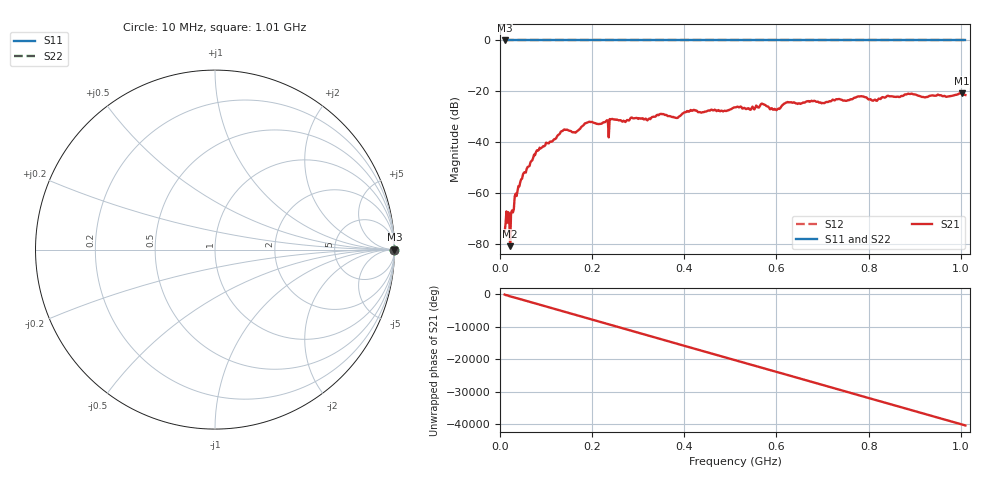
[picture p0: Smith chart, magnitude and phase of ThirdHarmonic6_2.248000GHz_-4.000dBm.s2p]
! 8/17/2025 2:40:49 AM
! C:\ANRITSUVNA\TEMP\TEMP.S2P
! CHANNEL.1
! TR.MEASUREMENT
! RAW.DATA
! RF.CORRECTION.OFF
! AVERAGING.OFF
! IF.BANDWIDTH: 5KHZ
! SWEEPTYPE:  FREQ.SWEEP(Linear)
! Reference Plane Port Info
! PORT:  PORT1  PORT2
! DISTANCE:  0  m  0  m
! TIME:  0  s  0  s
! PHASE.OFFSET:  0  deg.  0  deg.
! LOSS:  0  dB  0  dB
! REF.LOSS:  0  dB  0  dB
! REF.FREQ:  0  Hz  0  Hz
! Power Info
! POWER:  -20  dBm  -20  dBm
! EFF.POWER:  -20  dBm  -20  dBm
! SOURCE.ATTEN:  0  dB  0  dB
! TEST.ATTEN:  0  dB  0  dB
# GHZ S RI R 50.0
! FREQ.GHZ  S11RE  S11IM  S21RE  S21IM  S12RE  S12IM  S22RE  S22IM
!; PortSelection: Port_12
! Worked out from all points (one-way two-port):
!   501 points, 10 MHz to 1.01 GHz, reference 50 ohm
!   highest |S21| = -20.76 dB at 1.002 GHz (marker M1); lowest = -80.9 dB at 22 MHz (marker M2)
!   lowest |S11| = 0.0 dB at 10 MHz (marker M3)
!   |S11| at or under -10 dB: nowhere
!   |S22| runs from 0.0 to 0.0 dB; largest |S21 - S12| = 1.1
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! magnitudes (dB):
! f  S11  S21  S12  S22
! 10 MHz  0.0  -75.4  0.0  0.0
! 16 MHz  0.0  -71.7  0.0  0.0
! 22 MHz  0.0  -80.9  0.0  0.0
! 26 MHz  0.0  -66.9  0.0  0.0
! 28 MHz  0.0  -67.7  0.0  0.0
! 36 MHz  0.0  -61.2  0.0  0.0
! 48 MHz  0.0  -54.4  0.0  0.0
! 82 MHz  0.0  -43.4  0.0  0.0
! 136 MHz  0.0  -35.6  0.0  0.0
! 162 MHz  0.0  -36.2  0.0  0.0
! 178 MHz  0.0  -33.8  0.0  0.0
! 344 MHz  0.0  -29.4  0.0  0.0
! 382 MHz  0.0  -30.5  0.0  0.0
! 416 MHz  0.0  -27.6  0.0  0.0
! 510 MHz  0.0  -26.3  0.0  0.0
! 570 MHz  0.0  -25.0  0.0  0.0
! 598 MHz  0.0  -27.2  0.0  0.0
! 622 MHz  0.0  -24.4  0.0  0.0
! 678 MHz  0.0  -23.9  0.0  0.0
! 844 MHz  0.0  -21.9  0.0  0.0
! 1.002 GHz  0.0  -20.8  0.0  0.0
! 1.01 GHz  0.0  -21.5  0.0  0.0
